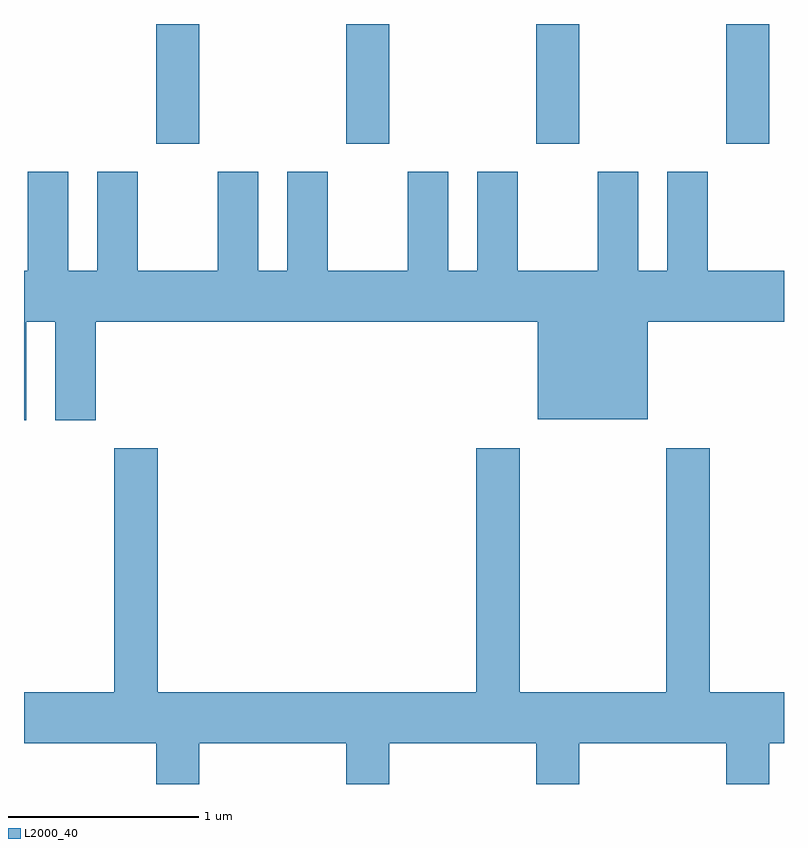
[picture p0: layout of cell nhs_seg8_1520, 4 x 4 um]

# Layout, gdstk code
import gdstk
lib = gdstk.Library(unit=1e-6, precision=1e-09)
def R(c, l, rs):  # rectangles x0, y0, x1, y1
    for r in rs: c.add(gdstk.rectangle(r[:2], r[2:], *l))
def A(c, l, x, y, w, h, nx, ny, dx, dy):  # array of equal rectangles
    R(c, l, [(x+i*dx, y+j*dy, x+i*dx+w, y+j*dy+h) for i in range(nx) for j in range(ny)])
def P(c, l, *ps):  # polygons
    for p in ps: c.add(gdstk.Polygon(p, *l))
L2000_40 = (2000, 40)

nhs_seg8_1520 = lib.new_cell('nhs_seg8_1520')
A(nhs_seg8_1520, L2000_40, 230.306, 1921.711, 0.228, 0.631, 4, 1, 1, 0)
P(nhs_seg8_1520, L2000_40, [(229.624,1920.776),(229.776,1920.776),(229.776,1920.256),(229.989,1920.256),(229.989,1920.776),(232.316,1920.776),(232.316,1920.261),(232.894,1920.261),(232.894,1920.776),(233.611,1920.776),(233.611,1921.044),(233.209,1921.044),(233.209,1921.564),(232.996,1921.564),(232.996,1921.044),(232.844,1921.044),(232.844,1921.564),(232.631,1921.564),(232.631,1921.044),(232.209,1921.044),(232.209,1921.564),(231.996,1921.564),(231.996,1921.044),(231.844,1921.044),(231.844,1921.564),(231.631,1921.564),(231.631,1921.044),(231.209,1921.044),(231.209,1921.564),(230.996,1921.564),(230.996,1921.044),(230.844,1921.044),(230.844,1921.564),(230.631,1921.564),(230.631,1921.044),(230.209,1921.044),(230.209,1921.564),(229.996,1921.564),(229.996,1921.044),(229.844,1921.044),(229.844,1921.564),(229.631,1921.564),(229.631,1921.044),(229.611,1921.044),(229.611,1920.256),(229.624,1920.256)],
  [(233.219,1920.109),(232.991,1920.109),(232.991,1918.824),(232.219,1918.824),(232.219,1920.109),(231.991,1920.109),(231.991,1918.824),(230.314,1918.824),(230.314,1920.109),(230.086,1920.109),(230.086,1918.824),(229.611,1918.824),(229.611,1918.556),(230.306,1918.556),(230.306,1918.342),(230.534,1918.342),(230.534,1918.556),(231.306,1918.556),(231.306,1918.342),(231.534,1918.342),(231.534,1918.556),(232.306,1918.556),(232.306,1918.342),(232.534,1918.342),(232.534,1918.556),(233.306,1918.556),(233.306,1918.342),(233.534,1918.342),(233.534,1918.556),(233.611,1918.556),(233.611,1918.824),(233.219,1918.824)])

lib.write_gds('nhs_seg8_1520.gds')
